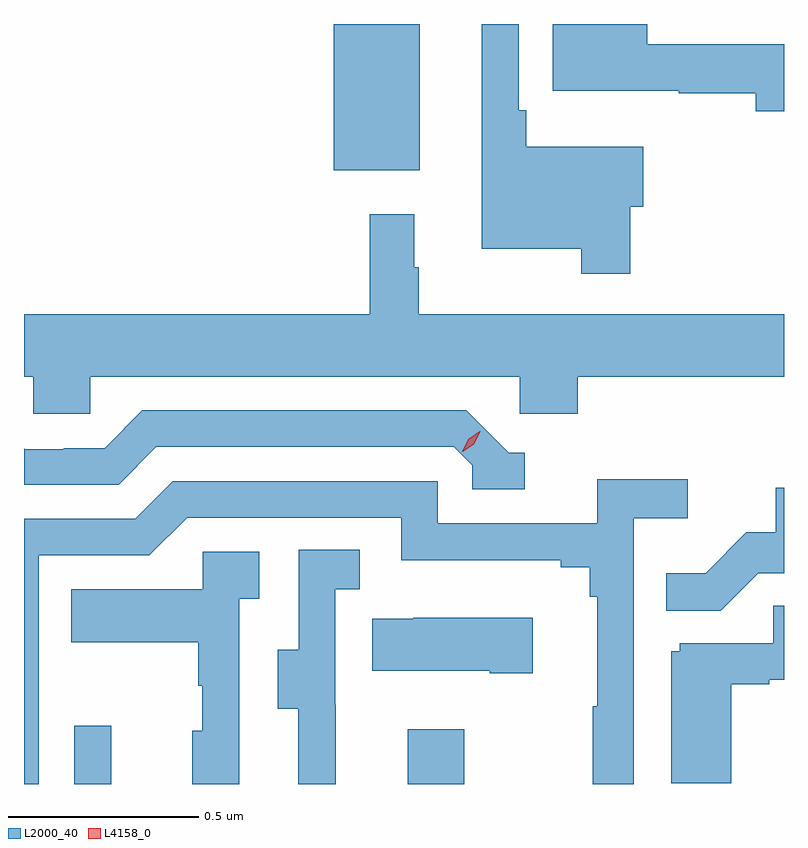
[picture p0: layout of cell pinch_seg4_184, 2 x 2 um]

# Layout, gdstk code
import gdstk
lib = gdstk.Library(unit=1e-6, precision=1e-09)
def R(c, l, rs):  # rectangles x0, y0, x1, y1
    for r in rs: c.add(gdstk.rectangle(r[:2], r[2:], *l))
def P(c, l, *ps):  # polygons
    for p in ps: c.add(gdstk.Polygon(p, *l))
L2000_40 = (2000, 40)
L4158_0 = (4158, 0)

pinch_seg4_184 = lib.new_cell('pinch_seg4_184')
R(pinch_seg4_184, L2000_40, [(1091.955,793.084,1092.053,793.237), (1092.833,793.084,1092.981,793.228), (1092.638,794.699,1092.865,795.084)])
P(pinch_seg4_184, L2000_40, [(1093.823,795.031),(1093.463,795.031),(1093.463,795.084),(1093.214,795.084),(1093.214,794.909),(1093.546,794.909),(1093.546,794.902),(1093.748,794.902),(1093.748,794.855),(1093.823,794.855)],
  [(1093.418,794.603),(1093.453,794.603),(1093.453,794.761),(1093.145,794.761),(1093.145,794.857),(1093.125,794.857),(1093.125,795.084),(1093.028,795.084),(1093.028,794.492),(1093.29,794.492),(1093.29,794.427),(1093.418,794.427)],
  [(1091.997,794.156),(1093.128,794.156),(1093.128,794.058),(1093.28,794.058),(1093.28,794.156),(1093.823,794.156),(1093.823,794.32),(1092.862,794.32),(1092.862,794.444),(1092.85,794.444),(1092.85,794.584),(1092.733,794.584),(1092.733,794.32),(1091.823,794.32),(1091.823,794.156),(1091.847,794.156),(1091.847,794.058),(1091.997,794.058)],
  [(1093.141,793.956),(1093.098,793.956),(1092.987,794.067),(1092.134,794.067),(1092.035,793.968),(1091.928,793.968),(1091.928,793.965),(1091.825,793.965),(1091.823,793.967),(1091.823,793.872),(1092.072,793.872),(1092.171,793.971),(1092.954,793.971),(1093.002,793.923),(1093.002,793.86),(1093.141,793.86)],
  [(1091.862,793.686),(1092.153,793.686),(1092.252,793.785),(1092.816,793.785),(1092.816,793.673),(1093.235,793.673),(1093.235,793.654),(1093.312,793.654),(1093.312,793.577),(1093.331,793.577),(1093.331,793.289),(1093.32,793.289),(1093.32,793.084),(1093.428,793.084),(1093.428,793.784),(1093.57,793.784),(1093.57,793.886),(1093.331,793.886),(1093.331,793.77),(1092.912,793.77),(1092.912,793.881),(1092.215,793.881),(1092.116,793.782),(1091.823,793.782),(1091.823,793.084),(1091.862,793.084)],
  [(1093.755,793.638),(1093.823,793.638),(1093.823,793.863),(1093.801,793.863),(1093.801,793.746),(1093.724,793.746),(1093.617,793.639),(1093.513,793.639),(1093.513,793.54),(1093.657,793.54)],
  [(1092.644,793.293),(1092.642,793.293),(1092.642,793.597),(1092.706,793.597),(1092.706,793.7),(1092.546,793.7),(1092.546,793.437),(1092.491,793.437),(1092.491,793.282),(1092.545,793.282),(1092.545,793.084),(1092.644,793.084)],
  [(1092.39,793.571),(1092.442,793.571),(1092.442,793.695),(1092.294,793.695),(1092.294,793.597),(1091.947,793.597),(1091.947,793.457),(1092.282,793.457),(1092.282,793.343),(1092.292,793.343),(1092.292,793.224),(1092.266,793.224),(1092.266,793.084),(1092.39,793.084)],
  [(1093.684,793.347),(1093.784,793.347),(1093.784,793.359),(1093.823,793.359),(1093.823,793.553),(1093.795,793.553),(1093.795,793.455),(1093.548,793.455),(1093.548,793.434),(1093.526,793.434),(1093.526,793.086),(1093.684,793.086)],
  [(1093.162,793.522),(1092.847,793.522),(1092.847,793.519),(1092.739,793.519),(1092.739,793.382),(1093.049,793.382),(1093.049,793.375),(1093.162,793.375)])
P(pinch_seg4_184, L4158_0, [(1092.976,793.958),(1092.976,793.958),(1092.992,793.991),(1093.022,794.012),(1093.023,794.012),(1093.023,794.011),(1093.007,793.978),(1092.977,793.958)])

lib.write_gds('pinch_seg4_184.gds')
